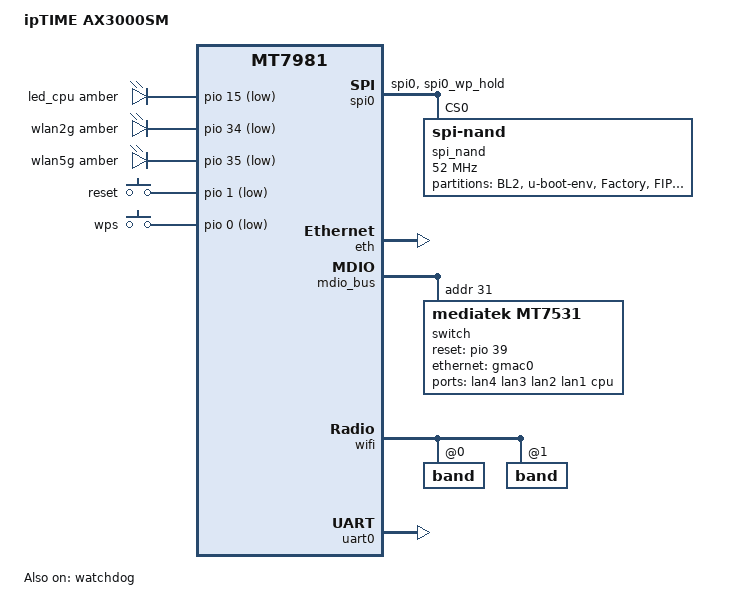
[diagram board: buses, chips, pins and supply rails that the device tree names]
// SPDX-License-Identifier: (GPL-2.0 OR MIT)

/dts-v1/;

#include <dt-bindings/gpio/gpio.h>
#include <dt-bindings/input/input.h>
#include <dt-bindings/leds/common.h>

#include "mt7981.dtsi"

/ {
	model = "ipTIME AX3000SM";
	compatible = "iptime,ax3000sm", "mediatek,mt7981-spim-snand-rfb";
	
	aliases {
		label-mac-device = &gmac1;
		led-boot = &led_cpu;
		led-failsafe = &led_cpu;
		led-running = &led_cpu;
		led-upgrade = &led_cpu;
		serial0 = &uart0;
	};
	
	chosen {
		stdout-path = "serial0:115200n8";
		bootargs-append = " ubi.mtd=ubi rootfstype=squashfs";
		bootargs-find-1 = "boot_from=B";
		bootargs-replace-1 = "ubi.block=0,rootfs2 root=/dev/ubiblock0_4";
	};
	
	leds {
		compatible = "gpio-leds";
		
		led_cpu: cpu {
			color = <LED_COLOR_ID_AMBER>;
			function = LED_FUNCTION_CPU;
			gpios = <&pio 15 GPIO_ACTIVE_LOW>;
		};
		
		wlan2g {
			color = <LED_COLOR_ID_AMBER>;
			function = LED_FUNCTION_WLAN_2GHZ;
			gpios = <&pio 34 GPIO_ACTIVE_LOW>;
			linux,default-trigger = "phy0tpt";
		};
		
		wlan5g {
			color = <LED_COLOR_ID_AMBER>;
			function = LED_FUNCTION_WLAN_5GHZ;
			gpios = <&pio 35 GPIO_ACTIVE_LOW>;
			linux,default-trigger = "phy1tpt";
		};
	};
	
	keys {
		compatible = "gpio-keys";
		
		reset {
			label = "reset";
			gpios = <&pio 1 GPIO_ACTIVE_LOW>;
			linux,code = <KEY_RESTART>;
		};
		
		wps {
			label = "wps";
			gpios = <&pio 0 GPIO_ACTIVE_LOW>;
			linux,code = <KEY_WPS_BUTTON>;
		};
	};
};

&spi0 {
	status = "okay";
	pinctrl-names = "default";
	pinctrl-0 = <&spi0_flash_pins>;
	
	spi_nand@0 {
		compatible = "spi-nand";
		#address-cells = <1>;
		#size-cells = <1>;
		reg = <0>;
		
		spi-max-frequency = <52000000>;
		spi-tx-bus-width = <4>;
		spi-rx-bus-width = <4>;
		
		spi-cal-enable;
		spi-cal-mode = "read-data";
		spi-cal-datalen = <7>;
		spi-cal-data = /bits/ 8 <0x53 0x50 0x49 0x4e 0x41 0x4e 0x44>;
		spi-cal-addrlen = <5>;
		spi-cal-addr = /bits/ 32 <0x0 0x0 0x0 0x0 0x0>;
		
		mediatek,nmbm;
		mediatek,bmt-max-ratio = <1>;
		mediatek,bmt-max-reserved-blocks = <64>;
		
		partitions {
			compatible = "fixed-partitions";
			#address-cells = <1>;
			#size-cells = <1>;
			
			partition@0 {
				label = "BL2";
				reg = <0x00000 0x0100000>;
				read-only;
			};
			
			partition@100000 {
				label = "u-boot-env";
				reg = <0x0100000 0x080000>;
				read-only;
			};
			
			factory: partition@180000 {
				label = "Factory";
				reg = <0x180000 0x0200000>;
				read-only;
				
				nvmem-layout {
					compatible = "fixed-layout";
					#address-cells = <1>;
					#size-cells = <1>;
					
					eeprom_factory_0: eeprom@0 {
						reg = <0x0 0x1000>;
					};
					
					macaddr_factory_4: macaddr@4 {
						compatible = "mac-base";
						#nvmem-cell-cells = <1>;
						reg = <0x4 0x6>;
					};
				};
			};
			
			partition@380000 {
				label = "FIP";
				reg = <0x380000 0x0200000>;
				read-only;
			};
			
			partition@580000 {
				label = "ubi";
				reg = <0x580000 0x06E00000>;
			};
		};
	};
};

&pio {
	spi0_flash_pins: spi0-pins {
		mux {
			function = "spi";
			groups = "spi0", "spi0_wp_hold";
		};
	};
};

&eth {
	status = "okay";
	
	pinctrl-names = "default";
	pinctrl-0 = <&mdio_pins &gbe_led0_pins>;
	
	gmac0: mac@0 {
		compatible = "mediatek,eth-mac";
		reg = <0>;
		phy-mode = "2500base-x";
		nvmem-cells = <&macaddr_factory_4 3>;
		nvmem-cell-names = "mac-address";
		
		fixed-link {
			speed = <2500>;
			full-duplex;
			pause;
		};
	};
	
	gmac1: mac@1 {
		compatible = "mediatek,eth-mac";
		reg = <1>;
		phy-mode = "gmii";
		phy-handle = <&int_gbe_phy>;
		nvmem-cells = <&macaddr_factory_4 1>;
		nvmem-cell-names = "mac-address";
	};
};

&mdio_bus {
	#address-cells = <1>;
	#size-cells = <0>;
	
	switch@1f {
		compatible = "mediatek,mt7531";
		reg = <31>;
		reset-gpios = <&pio 39 GPIO_ACTIVE_HIGH>;
		
		ports {
			#address-cells = <1>;
			#size-cells = <0>;
			
			port@0 {
				reg = <0>;
				label = "lan4";
			};
			
			port@1 {
				reg = <1>;
				label = "lan3";
			};
			
			port@2 {
				reg = <2>;
				label = "lan2";
			};
			
			port@3 {
				reg = <3>;
				label = "lan1";
			};
			
			port@6 {
				reg = <6>;
				label = "cpu";
				ethernet = <&gmac0>;
				phy-mode = "2500base-x";
				
				fixed-link {
					speed = <2500>;
					full-duplex;
					pause;
				};
			};
		};
	};
};

&wifi {
	status = "okay";
	
	nvmem-cell-names = "eeprom";
	nvmem-cells = <&eeprom_factory_0>;
	
	band@0 {
		reg = <0>;
		nvmem-cells = <&macaddr_factory_4>;
		nvmem-cell-names = "mac-address";
	};
	
	band@1 {
		reg = <1>;
		nvmem-cells = <&macaddr_factory_4>;
		nvmem-cell-names = "mac-address";
	};
};

&uart0 {
	status = "okay";
};

&watchdog {
	status = "okay";
};
